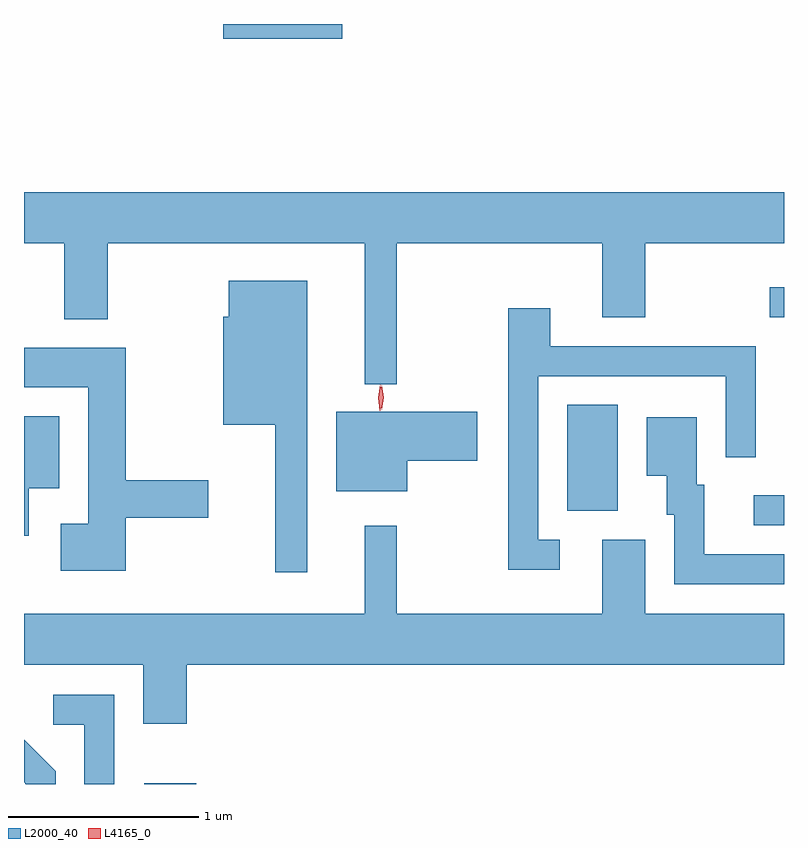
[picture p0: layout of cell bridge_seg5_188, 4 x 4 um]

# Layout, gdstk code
import gdstk
lib = gdstk.Library(unit=1e-6, precision=1e-09)
def R(c, l, rs):  # rectangles x0, y0, x1, y1
    for r in rs: c.add(gdstk.rectangle(r[:2], r[2:], *l))
def P(c, l, *ps):  # polygons
    for p in ps: c.add(gdstk.Polygon(p, *l))
L2000_40 = (2000, 40)
L4165_0 = (4165, 0)

bridge_seg5_188 = lib.new_cell('bridge_seg5_188')
R(bridge_seg5_188, L2000_40, [(1318.191,1405.109,1318.464,1405.114), (1321.398,1406.471,1321.558,1406.629), (1320.416,1406.546,1320.684,1407.104), (1321.483,1407.566,1321.558,1407.724), (1318.606,1409.031,1319.234,1409.109)])
P(bridge_seg5_188, L2000_40, [(1319.519,1407.956),(1320.601,1407.956),(1320.601,1407.566),(1320.829,1407.566),(1320.829,1407.956),(1321.558,1407.956),(1321.558,1408.224),(1317.558,1408.224),(1317.558,1407.956),(1317.771,1407.956),(1317.771,1407.556),(1317.999,1407.556),(1317.999,1407.956),(1319.351,1407.956),(1319.351,1407.213),(1319.519,1407.213)],
  [(1319.049,1407.759),(1318.636,1407.759),(1318.636,1407.569),(1318.606,1407.569),(1318.606,1407.001),(1318.881,1407.001),(1318.881,1406.223),(1319.049,1406.223)],
  [(1320.378,1406.394),(1320.264,1406.394),(1320.264,1407.256),(1321.251,1407.256),(1321.251,1406.828),(1321.409,1406.828),(1321.409,1407.414),(1320.329,1407.414),(1320.329,1407.614),(1320.106,1407.614),(1320.106,1406.236),(1320.378,1406.236)],
  [(1318.094,1406.511),(1318.529,1406.511),(1318.529,1406.709),(1318.094,1406.709),(1318.094,1407.404),(1317.558,1407.404),(1317.558,1407.196),(1317.896,1407.196),(1317.896,1406.479),(1317.751,1406.479),(1317.751,1406.231),(1318.094,1406.231)],
  [(1319.574,1406.811),(1319.944,1406.811),(1319.944,1407.069),(1319.201,1407.069),(1319.201,1406.651),(1319.574,1406.651)],
  [(1317.584,1406.666),(1317.744,1406.666),(1317.744,1407.044),(1317.558,1407.044),(1317.558,1406.416),(1317.584,1406.416)],
  [(1321.558,1406.319),(1321.139,1406.319),(1321.139,1406.684),(1321.099,1406.684),(1321.099,1407.039),(1320.836,1407.039),(1320.836,1406.731),(1320.941,1406.731),(1320.941,1406.526),(1320.981,1406.526),(1320.981,1406.161),(1321.558,1406.161)],
  [(1318.414,1405.736),(1321.558,1405.736),(1321.558,1406.004),(1320.829,1406.004),(1320.829,1406.394),(1320.601,1406.394),(1320.601,1406.004),(1319.519,1406.004),(1319.519,1406.468),(1319.351,1406.468),(1319.351,1406.004),(1317.558,1406.004),(1317.558,1405.736),(1318.186,1405.736),(1318.186,1405.426),(1318.414,1405.426)],
  [(1318.034,1405.579),(1317.713,1405.579),(1317.713,1405.421),(1317.876,1405.421),(1317.876,1405.109),(1318.034,1405.109)],
  [(1317.724,1405.177),(1317.558,1405.343),(1317.558,1405.117),(1317.566,1405.109),(1317.724,1405.109)])
P(bridge_seg5_188, L4165_0, [(1319.441,1407.08),(1319.441,1407.08),(1319.431,1407.144),(1319.44,1407.206),(1319.441,1407.207),(1319.441,1407.206),(1319.451,1407.144),(1319.442,1407.08)],
  [(1319.431,1407.074),(1319.422,1407.142),(1319.432,1407.21),(1319.433,1407.21),(1319.434,1407.21),(1319.442,1407.142),(1319.432,1407.074),(1319.432,1407.074)])

lib.write_gds('bridge_seg5_188.gds')
